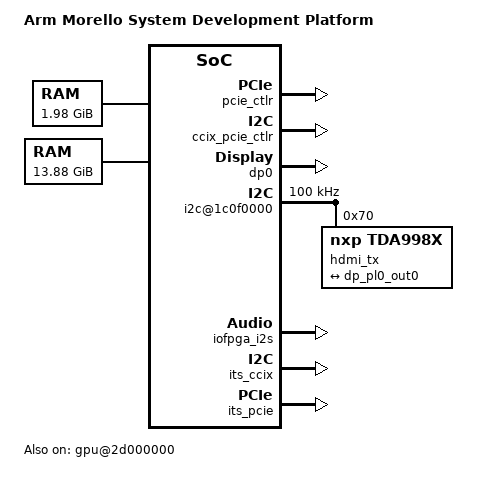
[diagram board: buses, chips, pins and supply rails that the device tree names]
/*
 * Copyright (c) 2021-2023, Arm Limited. All rights reserved.
 *
 * SPDX-License-Identifier: BSD-3-Clause
 */

/dts-v1/;
#include "morello.dtsi"
#include "morello-coresight.dtsi"

/ {
	model = "Arm Morello System Development Platform";

	chosen {
		stdout-path = "serial0:115200n8";
	};

	reserved-memory {
		#address-cells = <2>;
		#size-cells = <2>;
		ranges;

		secure-firmware@ff000000 {
			reg = <0 0xff000000 0 0x01000000>;
			no-map;
		};
	};

	/*
	 * The timings below are just to demonstrate working cpuidle.
	 * These values may be inaccurate.
	 */
	idle-states {
		entry-method = "psci";

		cluster_sleep: cluster-sleep {
			compatible = "arm,idle-state";
			arm,psci-suspend-param = <0x40000022>;
			local-timer-stop;
			entry-latency-us = <500>;
			exit-latency-us = <1000>;
			min-residency-us = <2500>;
		};

		cpu_sleep: cpu-sleep {
			compatible = "arm,idle-state";
			arm,psci-suspend-param = <0x40000002>;
			local-timer-stop;
			entry-latency-us = <150>;
			exit-latency-us = <300>;
			min-residency-us = <200>;
		};
	};

	cpus {
		#address-cells = <2>;
		#size-cells = <0>;
		cpu0: cpu0@0 {
			compatible = "arm,armv8";
			reg = <0x0 0x0>;
			device_type = "cpu";
			enable-method = "psci";
			clocks = <&scmi_dvfs 0>;
			operating-points = <
				/* kHz		uV */
				2600000		925000
				2400000		875000
				2200000		825000
				2000000		775000
				1800000		750000
			>;
			#cooling-cells = <2>;
			cpu-idle-states = <&cpu_sleep &cluster_sleep>;
		};
		cpu1: cpu1@100 {
			compatible = "arm,armv8";
			reg = <0x0 0x100>;
			device_type = "cpu";
			enable-method = "psci";
			clocks = <&scmi_dvfs 0>;
			operating-points = <
				/* kHz		uV */
				2600000		925000
				2400000		875000
				2200000		825000
				2000000		775000
				1800000		750000
			>;
			#cooling-cells = <2>;
			cpu-idle-states = <&cpu_sleep &cluster_sleep>;
		};
		cpu2: cpu2@10000 {
			compatible = "arm,armv8";
			reg = <0x0 0x10000>;
			device_type = "cpu";
			enable-method = "psci";
			clocks = <&scmi_dvfs 1>;
			operating-points = <
				/* kHz		uV */
				2600000		925000
				2400000		875000
				2200000		825000
				2000000		775000
				1800000		750000
			>;
			#cooling-cells = <2>;
			cpu-idle-states = <&cpu_sleep &cluster_sleep>;
		};
		cpu3: cpu3@10100 {
			compatible = "arm,armv8";
			reg = <0x0 0x10100>;
			device_type = "cpu";
			enable-method = "psci";
			clocks = <&scmi_dvfs 1>;
			operating-points = <
				/* kHz		uV */
				2600000		925000
				2400000		875000
				2200000		825000
				2000000		775000
				1800000		750000
			>;
			#cooling-cells = <2>;
			cpu-idle-states = <&cpu_sleep &cluster_sleep>;
		};
	};

	/* The first bank of memory, memory map is actually provided by UEFI. */
	memory@80000000 {
		device_type = "memory";
		/* [0x80000000-0xffffffff] */
		reg = <0x00000000 0x80000000 0x0 0x7F000000>;
	};

	memory@8080000000 {
		device_type = "memory";
		/* [0x8080000000-0x83f7ffffff] */
		reg = <0x00000080 0x80000000 0x3 0x78000000>;
	};

	smmu_pcie: iommu@4f400000 {
		compatible = "arm,smmu-v3";
		reg = <0 0x4f400000 0 0x40000>;
		interrupts = <GIC_SPI 235 IRQ_TYPE_EDGE_RISING>,
				<GIC_SPI 237 IRQ_TYPE_EDGE_RISING>,
				<GIC_SPI 40 IRQ_TYPE_EDGE_RISING>,
				<GIC_SPI 236 IRQ_TYPE_EDGE_RISING>;
		interrupt-names = "eventq", "gerror", "priq", "cmdq-sync";
		msi-parent = <&its2 0>;
		#iommu-cells = <1>;
		dma-coherent;
	};

	pcie_ctlr: pcie@28c0000000 {
		compatible = "pci-host-ecam-generic";
		device_type = "pci";
		reg = <0x28 0xC0000000 0 0x10000000>;
		bus-range = <0 255>;
		linux,pci-domain = <0>;
		#address-cells = <3>;
		#size-cells = <2>;
		dma-coherent;
		ranges = <0x01000000 0x00 0x00000000 0x00 0x6F000000 0x00 0x00800000>,
		     <0x02000000 0x00 0x60000000 0x00 0x60000000 0x00 0x0F000000>,
			 <0x42000000 0x09 0x00000000 0x09 0x00000000 0x1F 0xC0000000>;
		#interrupt-cells = <1>;
		interrupt-map-mask = <0 0 0 7>;
		interrupt-map = <0 0 0 1 &gic 0 0 0 169 IRQ_TYPE_LEVEL_HIGH>,
			<0 0 0 2 &gic 0 0 0 170 IRQ_TYPE_LEVEL_HIGH>,
			<0 0 0 3 &gic 0 0 0 171 IRQ_TYPE_LEVEL_HIGH>,
			<0 0 0 4 &gic 0 0 0 172 IRQ_TYPE_LEVEL_HIGH>;
		msi-map = <0 &its_pcie 0 0x10000>;
		iommu-map = <0 &smmu_pcie 0 0x10000>;
		status = "okay";
	};

	smmu_ccix: iommu@4f000000 {
		compatible = "arm,smmu-v3";
		reg = <0 0x4f000000 0 0x40000>;
		interrupts = <GIC_SPI 228 IRQ_TYPE_EDGE_RISING>,
				<GIC_SPI 230 IRQ_TYPE_EDGE_RISING>,
				<GIC_SPI 41 IRQ_TYPE_EDGE_RISING>,
				<GIC_SPI 229 IRQ_TYPE_EDGE_RISING>;
		interrupt-names = "eventq", "gerror", "priq", "cmdq-sync";
		msi-parent = <&its1 0>;
		#iommu-cells = <1>;
		dma-coherent;
	};

	ccix_pcie_ctlr: pcie@4fc0000000 {
		compatible = "pci-host-ecam-generic";
		device_type = "pci";
		reg = <0x4F 0xC0000000 0 0x10000000>;
		bus-range = <0 255>;
		linux,pci-domain = <1>;
		#address-cells = <3>;
		#size-cells = <2>;
		dma-coherent;
		ranges = <0x01000000 0x00 0x00000000 0x00 0x7F000000 0x00 0x00800000>,
		     <0x02000000 0x00 0x70000000 0x00 0x70000000 0x00 0x0F000000>,
			 <0x42000000 0x30 0x00000000 0x30 0x00000000 0x1F 0xC0000000>;
		#interrupt-cells = <1>;
		interrupt-map-mask = <0 0 0 7>;
		interrupt-map = <0 0 0 1 &gic 0 0 0 201 IRQ_TYPE_LEVEL_HIGH>,
			<0 0 0 2 &gic 0 0 0 202 IRQ_TYPE_LEVEL_HIGH>,
			<0 0 0 3 &gic 0 0 0 203 IRQ_TYPE_LEVEL_HIGH>,
			<0 0 0 4 &gic 0 0 0 204 IRQ_TYPE_LEVEL_HIGH>;
		msi-map = <0 &its_ccix 0 0x10000>;
		iommu-map = <0 &smmu_ccix 0 0x10000>;
		status = "okay";
	};

	smmu_dp: iommu@2ce00000 {
		compatible = "arm,smmu-v3";
		reg = <0 0x2ce00000 0 0x40000>;
		interrupts = <GIC_SPI 76 IRQ_TYPE_EDGE_RISING>,
				<GIC_SPI 80 IRQ_TYPE_EDGE_RISING>,
				<GIC_SPI 78 IRQ_TYPE_EDGE_RISING>;
		interrupt-names = "eventq", "gerror", "cmdq-sync";
		#iommu-cells = <1>;
	};

	dp0: display@2cc00000 {
		#address-cells = <1>;
		#size-cells = <0>;
		compatible = "arm,mali-d32", "arm,mali-d71";
		reg = <0 0x2cc00000 0 0x20000>;
		interrupts = <0 69 4>;
		interrupt-names = "DPU";
		clocks = <&dpu_aclk>;
		clock-names = "aclk";
		iommus = <&smmu_dp 0>, <&smmu_dp 1>, <&smmu_dp 2>, <&smmu_dp 3>,
			<&smmu_dp 8>;

		pl0: pipeline@0 {
			reg = <0>;
			clocks = <&scmi_clk 1>;
			clock-names = "pxclk";
			pl_id = <0>;
			ports {
				#address-cells = <1>;
				#size-cells = <0>;
				port@0 {
					reg = <0>;
					dp_pl0_out0: endpoint {
						remote-endpoint = <&tda998x_0_input>;
					};
				};
			};
		};
	};

	i2c@1c0f0000 {
		compatible = "cdns,i2c-r1p14";
		reg = <0x0 0x1c0f0000 0x0 0x1000>;
		#address-cells = <1>;
		#size-cells = <0>;
		clock-frequency = <100000>;
		i2c-sda-hold-time-ns = <500>;
		interrupts = <GIC_SPI 138 IRQ_TYPE_LEVEL_HIGH>;
		clocks = <&dpu_aclk>;

		hdmi_tx: hdmi-transmitter@70 {
			compatible = "nxp,tda998x";
			reg = <0x70>;
			video-ports = <0x234501>;
			#sound-dai-cells = <0>;
			audio-ports = <2 0x03>;
			port {
				tda998x_0_input: endpoint {
					remote-endpoint = <&dp_pl0_out0>;
				};
			};
		};
	};

	dpu_aclk: dpu_aclk {
		/* 77.1 MHz derived from 24 MHz reference clock */
		compatible = "fixed-clock";
		#clock-cells = <0>;
		clock-frequency = <350000000>;
		clock-output-names = "aclk";
	};

	gpu@2d000000 {
		compatible = "arm,mali-bifrost";
		reg = <0x0 0x2d000000 0x0 0x4000>;
		interrupts =
			<GIC_SPI 65 IRQ_TYPE_LEVEL_HIGH>,
			<GIC_SPI 66 IRQ_TYPE_LEVEL_HIGH>,
			<GIC_SPI 67 IRQ_TYPE_LEVEL_HIGH>;
		interrupt-names =
			"gpu",
			"job",
			"mmu";
		clocks = <&clk_gpu>;
		clock-names = "clk_mali";
		status = "okay";
	};

	clk_gpu: clk_gpu {
		compatible = "fixed-clock";
		#clock-cells = <0>;
		clock-frequency = <650000000>;
		clock-output-names = "clk_mali";
	};

	firmware {
		scmi {
			compatible = "arm,scmi";
			mbox-names = "tx", "rx";
			mboxes = <&mailbox 1 0>, <&mailbox 1 1>;
			shmem = <&cpu_scp_hpri0>, <&cpu_scp_hpri1>;
			#address-cells = <1>;
			#size-cells = <0>;
			scmi_dvfs: protocol@13 {
				reg = <0x13>;
				#clock-cells = <1>;
			};
			scmi_clk: protocol@14 {
				reg = <0x14>;
				#clock-cells = <1>;
			};
			scmi_sensor: protocol@15 {
				reg = <0x15>;
				#thermal-sensor-cells = <1>;
			};
		};
	};

	thermal-zones {
		clus0-thermal {
			polling-delay-passive = <200>; /* ms */
			polling-delay = <1000>; /* ms */

			thermal-sensors = <&scmi_sensor 0>;

			trips {
				clus0_alarm: clus0-alarm {
					temperature = <85000>; /* millicelsius */
					hysteresis = <1000>; /* millicelsius */
					type = "passive";
				};
				clus0_shutdown: clus0-shutdown {
					temperature = <90000>; /* millicelsius */
					hysteresis = <0>; /* millicelsius */
					type = "critical";
				};
			};

			cooling-maps {
				map0 {
					trip = <&clus0_alarm>;
					cooling-device = <&cpu0 4 4>, <&cpu1 4 4>;
				};
			};
		};
		clus1-thermal {
			polling-delay-passive = <200>; /* ms */
			polling-delay = <1000>; /* ms */

			thermal-sensors = <&scmi_sensor 1>;
			trips {
				clus1_alarm: clus1-alarm {
					temperature = <85000>; /* millicelsius */
					hysteresis = <1000>; /* millicelsius */
					type = "passive";
				};
				clus1_shutdown: clus1-shutdown {
					temperature = <90000>; /* millicelsius */
					hysteresis = <0>; /* millicelsius */
					type = "critical";
				};
			};

			cooling-maps {
				map0 {
					trip = <&clus1_alarm>;
					cooling-device = <&cpu2 4 4>, <&cpu3 4 4>;
				};
			};
		};
		sys-thermal {
			polling-delay-passive = <200>; /* ms */
			polling-delay = <1000>; /* ms */

			thermal-sensors = <&scmi_sensor 2>;
			trips {
				sys_alarm: sys-alarm {
					temperature = <85000>; /* millicelsius */
					hysteresis = <1000>; /* millicelsius */
					type = "passive";
				};
				sys_shutdown: sys-shutdown {
					temperature = <90000>; /* millicelsius */
					hysteresis = <0>; /* millicelsius */
					type = "critical";
				};
			};

			cooling-maps {
				map0 {
					trip = <&sys_alarm>;
					cooling-device = <&cpu0 4 4>,
						<&cpu1 4 4>,
						<&cpu2 4 4>,
						<&cpu3 4 4>;
				};
			};
		};
	};

	iofpga_i2s: xlnx-i2s@1c150000 {
		#sound-dai-cells = <0>;
		compatible = "xlnx,i2s-transmitter-1.0";
		#address-cells = <1>;
		#size-cells = <0>;
		reg = <0x0 0x1c150000 0x0 0x10000>;
		xlnx,dwidth = <0x18>;
		xlnx,num-channels = <1>;
	};

	audio_formatter: audio-formatter@1c100000 {
		compatible = "xlnx,audio-formatter-1.0";
		reg = <0x0 0x1c000000 0x0 0x10000>;
		#sound-dai-cells = <0>;
		interrupt-names = "irq_mm2s";
		interrupts = <GIC_SPI 137 IRQ_TYPE_LEVEL_HIGH>;
		clock-names = "s_axi_lite_aclk", "aud_mclk", "m_axis_mm2s_aclk";
		clocks = <&soc_refclk85mhz>, <&i2s_audclk>, <&soc_refclk85mhz>;
	};

	sound {
		compatible = "simple-audio-card";
		simple-audio-card,format = "i2s";
		simple-audio-card,bitclock-master = <&audio_master>;
		simple-audio-card,frame-master = <&audio_master>;
		audio_master: simple-audio-card,cpu {
			sound-dai = <&iofpga_i2s>;
			clocks = <&i2s_audclk>;
		};

		simple-audio-card,codec {
			sound-dai = <&hdmi_tx>;
		};

		simple-audio-card,plat {
			sound-dai = <&audio_formatter>;
		};
	};

	i2s_audclk: i2s_audclk {
		compatible = "fixed-clock";
		#clock-cells = <0>;
		clock-frequency = <12288000>;
		clock-output-names = "iofpga:i2s_audclk";
	};
};

&gic {
	reg = <0x0 0x30000000 0 0x10000>,	/* GICD */
	      <0x0 0x300c0000 0 0x80000>;	/* GICR */
	interrupts = <GIC_PPI 9 IRQ_TYPE_LEVEL_HIGH>;

	its1: msi-controller@30040000 {
		compatible = "arm,gic-v3-its";
		msi-controller;
		#msi-cells = <1>;
		reg = <0x0 0x30040000 0x0 0x20000>;
	};

	its2: msi-controller@30060000 {
		compatible = "arm,gic-v3-its";
		msi-controller;
		#msi-cells = <1>;
		reg = <0x0 0x30060000 0x0 0x20000>;
	};

	its_ccix: msi-controller@30080000 {
		compatible = "arm,gic-v3-its";
		msi-controller;
		#msi-cells = <1>;
		reg = <0x0 0x30080000 0x0 0x20000>;
	};

	its_pcie: msi-controller@300a0000 {
		compatible = "arm,gic-v3-its";
		msi-controller;
		#msi-cells = <1>;
		reg = <0x0 0x300a0000 0x0 0x20000>;
	};
};
